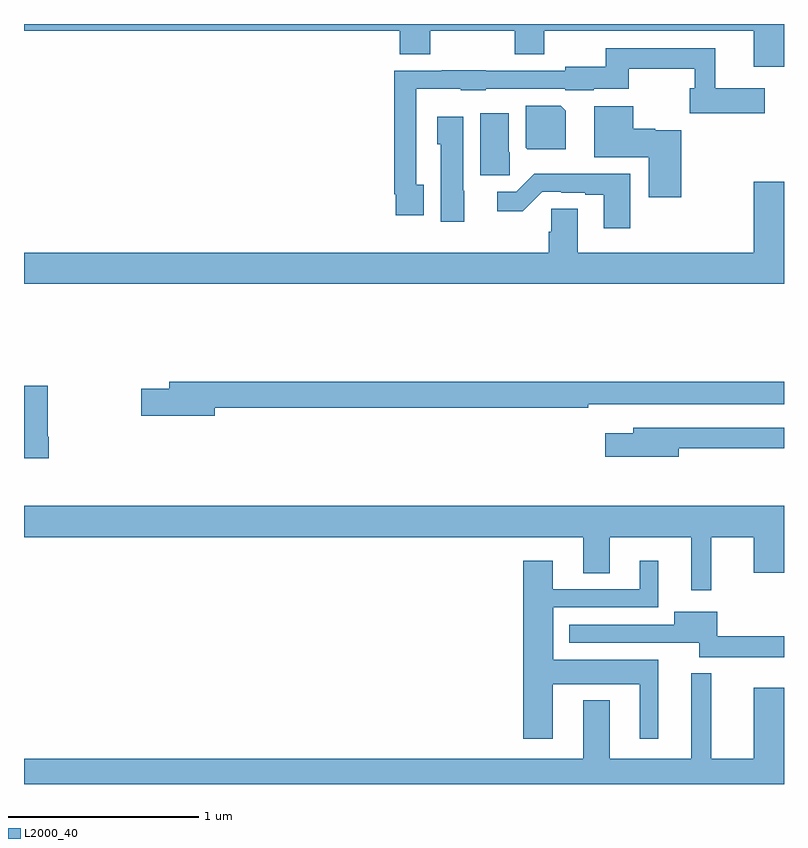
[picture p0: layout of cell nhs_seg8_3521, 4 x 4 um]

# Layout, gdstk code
import gdstk
lib = gdstk.Library(unit=1e-6, precision=1e-09)
def P(c, l, *ps):  # polygons
    for p in ps: c.add(gdstk.Polygon(p, *l))
L2000_40 = (2000, 40)

nhs_seg8_3521 = lib.new_cell('nhs_seg8_3521')
P(nhs_seg8_3521, L2000_40, [(329,1085.864),(330.977,1085.864),(330.977,1085.74),(331.137,1085.74),(331.137,1085.864),(331.582,1085.864),(331.582,1085.74),(331.737,1085.74),(331.737,1085.864),(332.84,1085.864),(332.84,1085.676),(333,1085.676),(333,1085.9),(329,1085.9)],
  [(331.105,1085.054),(331.065,1085.054),(331.065,1085.558),(331.299,1085.558),(331.299,1085.552),(331.431,1085.552),(331.431,1085.559),(331.848,1085.559),(331.848,1085.552),(331.998,1085.552),(331.998,1085.558),(332.182,1085.558),(332.182,1085.664),(332.529,1085.664),(332.529,1085.563),(332.503,1085.563),(332.503,1085.429),(332.899,1085.429),(332.899,1085.563),(332.639,1085.563),(332.639,1085.772),(332.061,1085.772),(332.061,1085.674),(331.848,1085.674),(331.848,1085.655),(331.431,1085.655),(331.431,1085.657),(331.199,1085.657),(331.199,1085.655),(330.949,1085.655),(330.949,1085.005),(330.957,1085.005),(330.957,1084.893),(331.105,1084.893)],
  [(331.852,1085.444),(331.826,1085.47),(331.64,1085.47),(331.64,1085.248),(331.648,1085.24),(331.852,1085.24)],
  [(332.459,1085.341),(332.322,1085.341),(332.322,1085.349),(332.206,1085.349),(332.206,1085.468),(332,1085.468),(332,1085.198),(332.288,1085.198),(332.288,1084.989),(332.459,1084.989)],
  [(331.556,1085.226),(331.552,1085.226),(331.552,1085.431),(331.4,1085.431),(331.4,1085.103),(331.556,1085.103)],
  [(331.318,1085.022),(331.312,1085.022),(331.312,1085.413),(331.175,1085.413),(331.175,1085.268),(331.193,1085.268),(331.193,1084.86),(331.318,1084.86)],
  [(332.191,1085.111),(331.685,1085.111),(331.59,1085.016),(331.491,1085.016),(331.491,1084.914),(331.626,1084.914),(331.728,1085.016),(331.828,1085.016),(331.828,1085.013),(331.955,1085.013),(331.955,1085.001),(332.051,1085.001),(332.051,1084.824),(332.191,1084.824)],
  [(333,1085.071),(332.84,1085.071),(332.84,1084.696),(331.915,1084.696),(331.915,1084.928),(331.776,1084.928),(331.776,1084.806),(331.763,1084.806),(331.763,1084.696),(329,1084.696),(329,1084.532),(333,1084.532)],
  [(330.004,1083.88),(331.97,1083.88),(331.97,1083.9),(333,1083.9),(333,1084.016),(329.765,1084.016),(329.765,1083.98),(329.616,1083.98),(329.616,1083.838),(330.004,1083.838)],
  [(329.129,1083.727),(329.124,1083.727),(329.124,1083.996),(329,1083.996),(329,1083.615),(329.129,1083.615)],
  [(332.446,1083.666),(333,1083.666),(333,1083.774),(332.207,1083.774),(332.207,1083.745),(332.058,1083.745),(332.058,1083.623),(332.446,1083.623)],
  [(332.617,1083.2),(332.84,1083.2),(332.84,1083.012),(333,1083.012),(333,1083.364),(329,1083.364),(329,1083.2),(331.943,1083.2),(331.943,1083.01),(332.083,1083.01),(332.083,1083.2),(332.513,1083.2),(332.513,1082.919),(332.617,1082.919)],
  [(331.783,1082.426),(332.24,1082.426),(332.24,1082.139),(332.338,1082.139),(332.338,1082.554),(331.786,1082.554),(331.786,1082.829),(332.338,1082.829),(332.338,1083.076),(332.24,1083.076),(332.24,1082.925),(331.783,1082.925),(331.783,1083.076),(331.628,1083.076),(331.628,1082.139),(331.783,1082.139)],
  [(333,1082.677),(332.649,1082.677),(332.649,1082.806),(332.423,1082.806),(332.423,1082.739),(331.871,1082.739),(331.871,1082.643),(332.553,1082.643),(332.553,1082.568),(332.656,1082.568),(332.656,1082.567),(333,1082.567)],
  [(333,1082.407),(332.84,1082.407),(332.84,1082.032),(332.617,1082.032),(332.617,1082.482),(332.513,1082.482),(332.513,1082.032),(332.083,1082.032),(332.083,1082.341),(331.943,1082.341),(331.943,1082.032),(329,1082.032),(329,1081.9),(333,1081.9)])

lib.write_gds('nhs_seg8_3521.gds')
